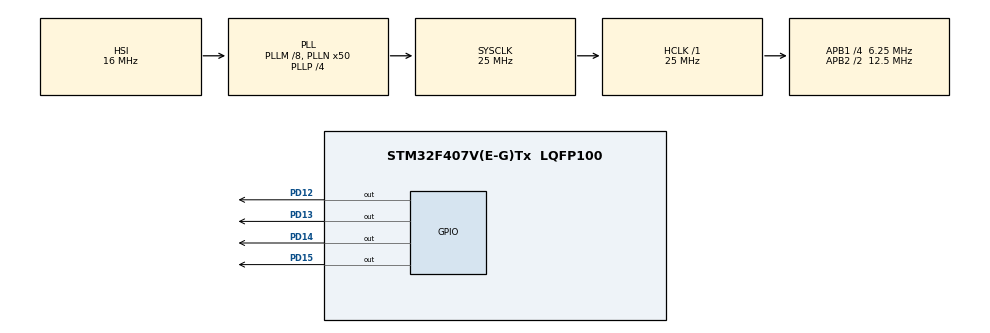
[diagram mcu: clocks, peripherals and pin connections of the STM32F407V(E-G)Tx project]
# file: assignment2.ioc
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FREERTOS.INCLUDE_vTaskDelayUntil=1
FREERTOS.Tasks01=defaultTask,-3,128,StartDefaultTask,Default,NULL,Dynamic,NULL,NULL
FREERTOS.configUSE_NEWLIB_REENTRANT=1
Mcu.Family=STM32F4
Mcu.Name=STM32F407V(E-G)Tx
Mcu.Package=LQFP100
NVIC.PriorityGroup=NVIC_PRIORITYGROUP_4
NVIC.TIM1_UP_TIM10_IRQn=true\:15\:0\:false\:false\:true\:false\:false\:true\:true
NVIC.TimeBase=TIM1_UP_TIM10_IRQn
NVIC.TimeBaseIP=TIM1
PD12.Signal=GPIO_Output
PD13.Signal=GPIO_Output
PD14.Signal=GPIO_Output
PD15.Signal=GPIO_Output
ProjectManager.HeapSize=0x200
ProjectManager.StackSize=0x400
ProjectManager.TargetToolchain=STM32CubeIDE
RCC.48MHZClocksFreq_Value=14285714.285714285
RCC.AHBFreq_Value=25000000
RCC.APB1CLKDivider=RCC_HCLK_DIV4
RCC.APB1Freq_Value=6250000
RCC.APB1TimFreq_Value=12500000
RCC.APB2CLKDivider=RCC_HCLK_DIV2
RCC.APB2Freq_Value=12500000
RCC.APB2TimFreq_Value=25000000
RCC.CortexFreq_Value=25000000
RCC.HCLKFreq_Value=25000000
RCC.HSE_VALUE=8000000
RCC.HSI_VALUE=16000000
RCC.LSE_VALUE=32768
RCC.PLLM=8
RCC.PLLN=50
RCC.PLLP=RCC_PLLP_DIV4
RCC.PLLQ=7
RCC.SYSCLKFreq_VALUE=25000000
RCC.SYSCLKSource=RCC_SYSCLKSOURCE_PLLCLK
RCC.VCOOutputFreq_Value=100000000
VP_FREERTOS_VS_CMSIS_V1.Mode=CMSIS_V1
VP_SYS_VS_tim1.Mode=TIM1
board=STM32F407G-DISC1

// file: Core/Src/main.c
/* USER CODE BEGIN Header */
/**
  ******************************************************************************
  * @file           : main.c
  * @brief          : Main program body
  ******************************************************************************
  * @attention
  *
  * Copyright (c) 2024 STMicroelectronics.
  * All rights reserved.
  *
  * This software is licensed under terms that can be found in the LICENSE file
  * in the root directory of this software component.
  * If no LICENSE file comes with this software, it is provided AS-IS.
  *
  ******************************************************************************
  */
/* USER CODE END Header */
#include "main.h"
#include "cmsis_os.h"

osThreadId defaultTaskHandle;

void SystemClock_Config(void);
static void MX_GPIO_Init(void);
void StartDefaultTask(void const * argument);

/* USER CODE BEGIN 0 */
void vLEDTask(void *pvParam)
{
	portTickType wakeupTime = xTaskGetTickCount();
	while(1)
	{
		HAL_GPIO_TogglePin(GPIOD, GPIO_PIN_12);
		vTaskDelayUntil(&wakeupTime ,500 / portTICK_RATE_MS);
		HAL_GPIO_TogglePin(GPIOD, GPIO_PIN_13);
		vTaskDelayUntil(&wakeupTime ,1000 / portTICK_RATE_MS);
		HAL_GPIO_TogglePin(GPIOD, GPIO_PIN_14);
		vTaskDelayUntil(&wakeupTime ,1500 / portTICK_RATE_MS);
		HAL_GPIO_TogglePin(GPIOD, GPIO_PIN_15);
		vTaskDelayUntil(&wakeupTime ,2000 / portTICK_RATE_MS);
	}
	vTaskDelete(NULL);
}
/* USER CODE END 0 */

int main(void)
{

  /* USER CODE BEGIN 1 */
	BaseType_t ret;
  /* USER CODE END 1 */

  /* MCU Configuration--------------------------------------------------------*/

  /* Reset of all peripherals, Initializes the Flash interface and the Systick. */
  HAL_Init();

  /* Configure the system clock */
  SystemClock_Config();

  /* Initialize all configured peripherals */
  MX_GPIO_Init();
  /* USER CODE BEGIN 2 */
  ret = xTaskCreate(vLEDTask, "Periodic", configMINIMAL_STACK_SIZE, NULL, 2, NULL);
      if(ret != pdTRUE)
    	  Error_Handler();
  ret = xTaskCreate(vLEDTask, "Periodic", configMINIMAL_STACK_SIZE, NULL, 2, NULL);
      if(ret != pdTRUE)
          Error_Handler();
  ret = xTaskCreate(vLEDTask, "Periodic", configMINIMAL_STACK_SIZE, NULL, 2, NULL);
      if(ret != pdTRUE)
          Error_Handler();
  ret = xTaskCreate(vLEDTask, "Periodic", configMINIMAL_STACK_SIZE, NULL, 2, NULL);
  	  if(ret != pdTRUE)
  		  Error_Handler();

  	vTaskStartScheduler();
  /* USER CODE END 2 */

  /* Create the thread(s) */
  /* definition and creation of defaultTask */
  osThreadDef(defaultTask, StartDefaultTask, osPriorityIdle, 0, 128);
  defaultTaskHandle = osThreadCreate(osThread(defaultTask), NULL);

  /* Start scheduler */
  osKernelStart();

  /* We should never get here as control is now taken by the scheduler */

  /* Infinite loop */
  while (1)
  {

  }
}

void SystemClock_Config(void)
{
  RCC_OscInitTypeDef RCC_OscInitStruct = {0};
  RCC_ClkInitTypeDef RCC_ClkInitStruct = {0};

  /** Configure the main internal regulator output voltage
  */
  __HAL_RCC_PWR_CLK_ENABLE();
  __HAL_PWR_VOLTAGESCALING_CONFIG(PWR_REGULATOR_VOLTAGE_SCALE1);

  /** Initializes the RCC Oscillators according to the specified parameters
  * in the RCC_OscInitTypeDef structure.
  */
  RCC_OscInitStruct.OscillatorType = RCC_OSCILLATORTYPE_HSI;
  RCC_OscInitStruct.HSIState = RCC_HSI_ON;
  RCC_OscInitStruct.HSICalibrationValue = RCC_HSICALIBRATION_DEFAULT;
  RCC_OscInitStruct.PLL.PLLState = RCC_PLL_ON;
  RCC_OscInitStruct.PLL.PLLSource = RCC_PLLSOURCE_HSI;
  RCC_OscInitStruct.PLL.PLLM = 8;
  RCC_OscInitStruct.PLL.PLLN = 50;
  RCC_OscInitStruct.PLL.PLLP = RCC_PLLP_DIV4;
  RCC_OscInitStruct.PLL.PLLQ = 7;
  if (HAL_RCC_OscConfig(&RCC_OscInitStruct) != HAL_OK)
  {
    Error_Handler();
  }

  /** Initializes the CPU, AHB and APB buses clocks
  */
  RCC_ClkInitStruct.ClockType = RCC_CLOCKTYPE_HCLK|RCC_CLOCKTYPE_SYSCLK
                              |RCC_CLOCKTYPE_PCLK1|RCC_CLOCKTYPE_PCLK2;
  RCC_ClkInitStruct.SYSCLKSource = RCC_SYSCLKSOURCE_PLLCLK;
  RCC_ClkInitStruct.AHBCLKDivider = RCC_SYSCLK_DIV1;
  RCC_ClkInitStruct.APB1CLKDivider = RCC_HCLK_DIV4;
  RCC_ClkInitStruct.APB2CLKDivider = RCC_HCLK_DIV2;

  if (HAL_RCC_ClockConfig(&RCC_ClkInitStruct, FLASH_LATENCY_0) != HAL_OK)
  {
    Error_Handler();
  }
}

static void MX_GPIO_Init(void)
{
  GPIO_InitTypeDef GPIO_InitStruct = {0};

  /* GPIO Ports Clock Enable */
  __HAL_RCC_GPIOD_CLK_ENABLE();

  /*Configure GPIO pin Output Level */
  HAL_GPIO_WritePin(GPIOD, GPIO_PIN_12|GPIO_PIN_13|GPIO_PIN_14|GPIO_PIN_15, GPIO_PIN_RESET);

  /*Configure GPIO pins : PD12 PD13 PD14 PD15 */
  GPIO_InitStruct.Pin = GPIO_PIN_12|GPIO_PIN_13|GPIO_PIN_14|GPIO_PIN_15;
  GPIO_InitStruct.Mode = GPIO_MODE_OUTPUT_PP;
  GPIO_InitStruct.Pull = GPIO_NOPULL;
  GPIO_InitStruct.Speed = GPIO_SPEED_FREQ_LOW;
  HAL_GPIO_Init(GPIOD, &GPIO_InitStruct);

}

void StartDefaultTask(void const * argument)
{
  for(;;)
  {
    osDelay(1);
  }
}

void HAL_TIM_PeriodElapsedCallback(TIM_HandleTypeDef *htim)
{
  if (htim->Instance == TIM1) {
    HAL_IncTick();
  }
}

void Error_Handler(void)
{
  __disable_irq();
  while (1)
  {
  }
}
